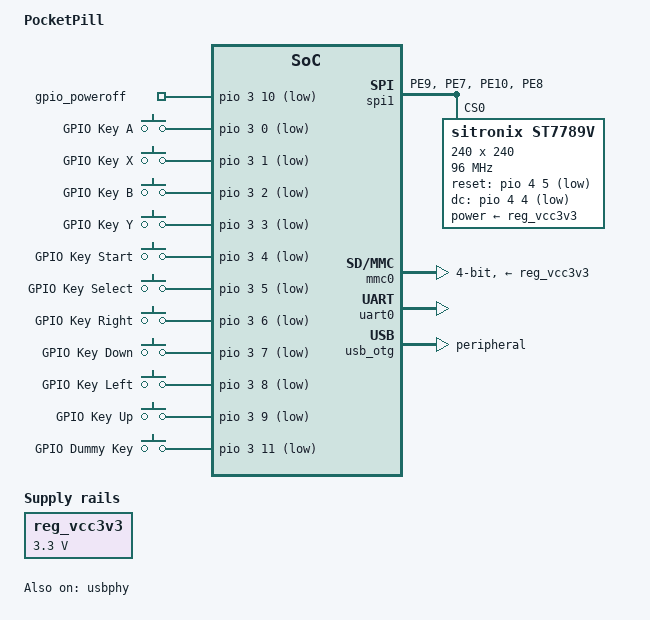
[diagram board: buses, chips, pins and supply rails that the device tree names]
// SPDX-License-Identifier: (GPL-2.0+ OR X11)
/*
 * Copyright 2019 George Hilliard <thirtythreeforty@gmail.com>
 */

/dts-v1/;
#include "suniv-f1c100s.dtsi"

#include <dt-bindings/gpio/gpio.h>

/ {
	model = "PocketPill";
	compatible = "licheepi,licheepi-nano", "allwinner,suniv-f1c100s",
		     "allwinner,suniv";

	aliases {
		serial0 = &uart0;
		spi0 = &spi0;
		spi1 = &spi1;
	};

	chosen {
		stdout-path = "serial0:115200n8";
	};

	reg_vcc3v3: vcc3v3 {
		compatible = "regulator-fixed";
		regulator-name = "vcc3v3";
		regulator-min-microvolt = <3300000>;
		regulator-max-microvolt = <3300000>;
	};

	gpio_poweroff {
		compatible = "gpio-poweroff";
		gpios = <&pio 3 10 GPIO_ACTIVE_LOW>; /* PD10 */
		timeout-ms = <3000>;
	};

	gpio_keys {
		compatible = "gpio-keys";

		key_a {
			label = "GPIO Key A";
			gpios = <&pio 3 0 (GPIO_ACTIVE_LOW | GPIO_PULL_UP)>;
			linux,code = <30>; /* A */
			gpio-key;
		};
		key_x {
			label = "GPIO Key X";
			gpios = <&pio 3 1 (GPIO_ACTIVE_LOW | GPIO_PULL_UP)>;
			linux,code = <45>; /* X */
			gpio-key;
		};
		key_b {
			label = "GPIO Key B";
			gpios = <&pio 3 2 (GPIO_ACTIVE_LOW | GPIO_PULL_UP)>;
			linux,code = <48>; /* B */
			gpio-key;
		};
		key_y {
			label = "GPIO Key Y";
			gpios = <&pio 3 3 (GPIO_ACTIVE_LOW | GPIO_PULL_UP)>;
			linux,code = <21>; /* Y */
			gpio-key;
		};
		start {
			label = "GPIO Key Start";
			gpios = <&pio 3 4 (GPIO_ACTIVE_LOW | GPIO_PULL_UP)>;
			linux,code = <28>; /* ENTER */
			gpio-key;
		};
		select {
			label = "GPIO Key Select";
			gpios = <&pio 3 5 (GPIO_ACTIVE_LOW | GPIO_PULL_UP)>;
			linux,code = <57>; /* SPACE */
			gpio-key;
		};
		key_right {
			label = "GPIO Key Right";
			gpios = <&pio 3 6 (GPIO_ACTIVE_LOW | GPIO_PULL_UP)>;
			linux,code = <106>; /* Right */
			gpio-key;
		};
		key_down {
			label = "GPIO Key Down";
			gpios = <&pio 3 7 (GPIO_ACTIVE_LOW | GPIO_PULL_UP)>;
			linux,code = <108>; /* Down */
			gpio-key;
		};
		key_left {
			label = "GPIO Key Left";
			gpios = <&pio 3 8 (GPIO_ACTIVE_LOW | GPIO_PULL_UP)>;
			linux,code = <105>; /* Left */
			gpio-key;
		};
		key_up {
			label = "GPIO Key Up";
			gpios = <&pio 3 9 (GPIO_ACTIVE_LOW | GPIO_PULL_UP)>;
			linux,code = <103>; /* Up */
			gpio-key;
		};
		key_dummy {
			label = "GPIO Dummy Key";
			gpios = <&pio 3 11 (GPIO_ACTIVE_LOW | GPIO_PULL_UP)>;
			linux,code = <1>; /* ESC */
			gpio-key;
		};

	};

};

&pio {
	spi1_pins_pe: spi1-pins-pe {
		pins = "PE9", "PE7", "PE10", "PE8"; /* (PE10/MISO not used and wired to bat_alert) */
		function = "spi1";
	};
};

&spi1 {
	#address-cells = <1>;
	#size-cells = <0>;
    pinctrl-names = "default";
    pinctrl-0 = <&spi1_pins_pe>;
	status = "okay";
	bias-pull-down;

	st7789v@0 {
		compatible = "sitronix,st7789v";
		reg = <0>;
		power-supply = <&reg_vcc3v3>;

		reset-gpios = <&pio 4 5 GPIO_ACTIVE_LOW>;
		dc-gpios = <&pio 4 4 GPIO_ACTIVE_LOW>;

		fps = <60>;
		buswidth = <8>;

		width = <240>;
		height = <240>;
		
		spi-max-frequency = <96000000>;
		spi-cpol;
		spi-cpha;

		rgb;
		rotate = <90>;

		debug = <1>;

	};
};

&tcon0 {
	status = "disabled";
};

&tcon0_out {
	status = "disabled";
};

&be0 {
	status = "disabled";
};

&de {
	status = "disabled";
};

&mmc0 {
	vmmc-supply = <&reg_vcc3v3>;
	bus-width = <4>;
	broken-cd;
	status = "okay";
};

&lradc {
	status = "disabled";
};


&otg_sram {
	status = "okay";
};

&uart0 {
	pinctrl-names = "default";
	pinctrl-0 = <&uart0_pe_pins>;
	status = "okay";
};

&usb_otg {
	dr_mode = "peripheral";
	status = "okay";
};

&usbphy {
	usb0_id_det-gpio = <&pio 4 2 GPIO_ACTIVE_HIGH>; /* PE2 */
	status = "okay";
};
